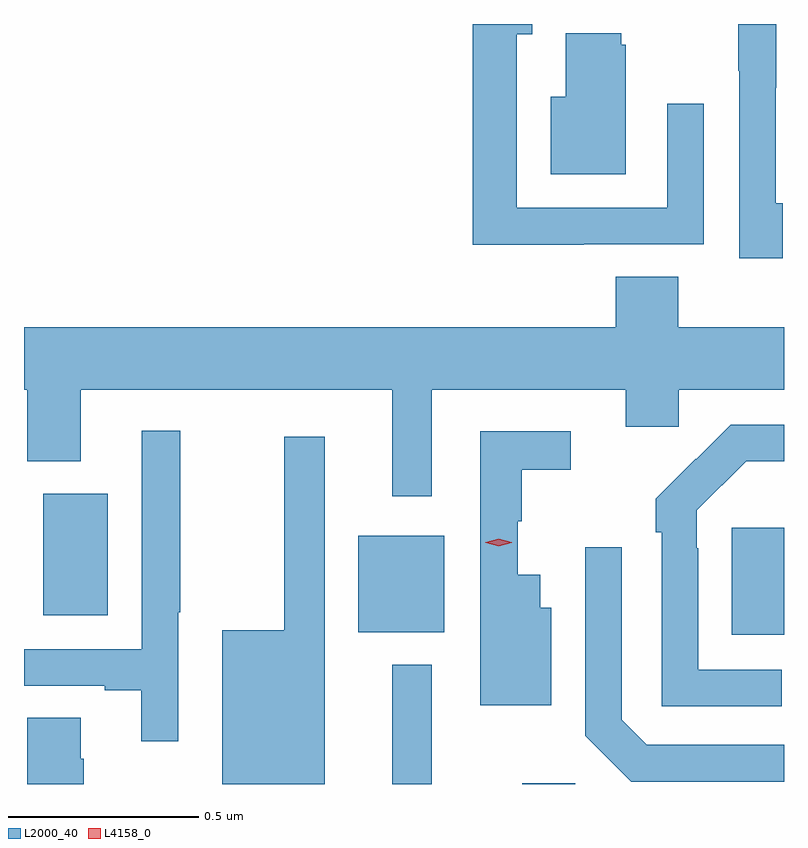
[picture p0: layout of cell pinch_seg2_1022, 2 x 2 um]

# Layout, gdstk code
import gdstk
lib = gdstk.Library(unit=1e-6, precision=1e-09)
def R(c, l, rs):  # rectangles x0, y0, x1, y1
    for r in rs: c.add(gdstk.rectangle(r[:2], r[2:], *l))
def P(c, l, *ps):  # polygons
    for p in ps: c.add(gdstk.Polygon(p, *l))
L2000_40 = (2000, 40)
L4158_0 = (4158, 0)

pinch_seg2_1022 = lib.new_cell('pinch_seg2_1022')
R(pinch_seg2_1022, L2000_40, [(240.605,586.658,240.709,586.972), (240.947,586.658,241.086,586.66), (241.499,587.051,241.636,587.332), (240.515,587.057,240.742,587.311), (239.687,587.102,239.857,587.422)])
P(pinch_seg2_1022, L2000_40, [(241.109,588.078),(241.425,588.078),(241.425,588.448),(241.329,588.448),(241.329,588.174),(240.933,588.174),(240.933,588.631),(240.973,588.631),(240.973,588.658),(240.817,588.658),(240.817,588.077),(241.109,588.077)],
  [(241.633,588.186),(241.614,588.186),(241.614,588.49),(241.615,588.49),(241.615,588.658),(241.516,588.658),(241.516,588.535),(241.518,588.535),(241.518,588.042),(241.633,588.042)],
  [(241.219,588.603),(241.208,588.603),(241.208,588.634),(241.061,588.634),(241.061,588.466),(241.022,588.466),(241.022,588.263),(241.219,588.263)],
  [(240.709,587.696),(241.22,587.696),(241.22,587.598),(241.359,587.598),(241.359,587.696),(241.636,587.696),(241.636,587.86),(241.358,587.86),(241.358,587.993),(241.193,587.993),(241.193,587.86),(239.636,587.86),(239.636,587.696),(239.645,587.696),(239.645,587.507),(239.785,587.507),(239.785,587.696),(240.605,587.696),(240.605,587.415),(240.709,587.415)],
  [(241.63,586.959),(241.41,586.959),(241.41,587.279),(241.407,587.279),(241.407,587.379),(241.536,587.508),(241.636,587.508),(241.636,587.604),(241.496,587.604),(241.405,587.513),(241.404,587.514),(241.299,587.409),(241.299,587.321),(241.314,587.321),(241.314,586.863),(241.63,586.863)],
  [(240.042,587.11),(240.047,587.11),(240.047,587.587),(239.946,587.587),(239.946,587.013),(239.636,587.013),(239.636,586.917),(239.849,586.917),(239.849,586.905),(239.945,586.905),(239.945,586.77),(240.042,586.77)],
  [(241.024,587.122),(240.994,587.122),(240.994,587.209),(240.935,587.209),(240.935,587.349),(240.946,587.349),(240.946,587.485),(241.075,587.485),(241.075,587.586),(240.837,587.586),(240.837,587.105),(240.836,587.105),(240.836,586.865),(241.024,586.865)],
  [(240.427,587.572),(240.321,587.572),(240.321,587.062),(240.158,587.062),(240.158,586.658),(240.427,586.658)],
  [(241.636,586.761),(241.275,586.761),(241.209,586.827),(241.209,587.281),(241.113,587.281),(241.113,586.785),(241.234,586.664),(241.636,586.664)],
  [(239.793,586.724),(239.785,586.724),(239.785,586.832),(239.645,586.832),(239.645,586.658),(239.793,586.658)])
P(pinch_seg2_1022, L4158_0, [(240.885,587.284),(240.851,587.293),(240.85,587.294),(240.851,587.294),(240.885,587.304),(240.92,587.294),(240.92,587.294),(240.92,587.293)])

lib.write_gds('pinch_seg2_1022.gds')
